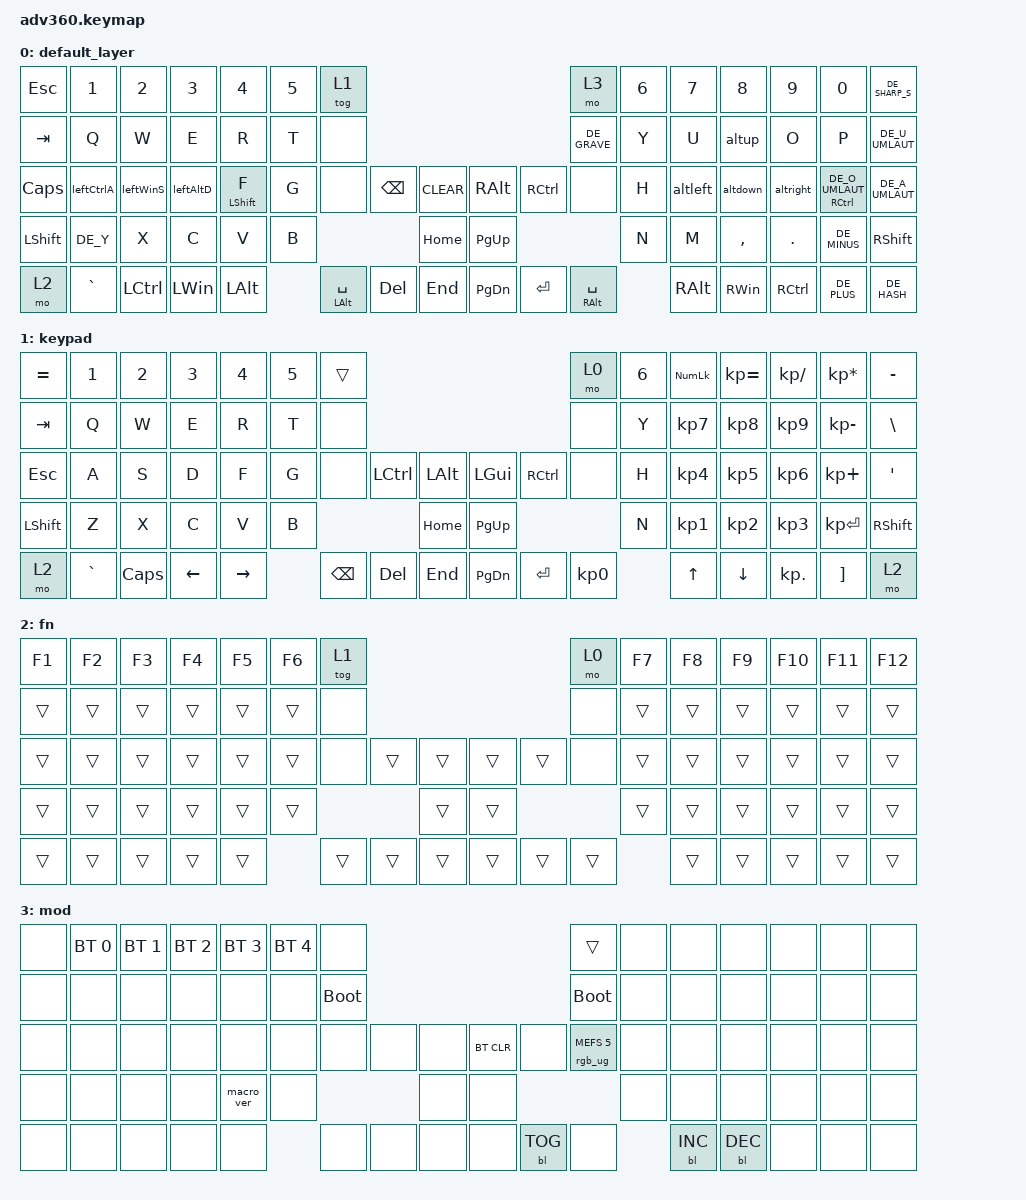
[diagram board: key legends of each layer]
#include "keys_de.h"
#include <behaviors.dtsi>
#include <dt-bindings/zmk/backlight.h>
#include <dt-bindings/zmk/bt.h>
#include <dt-bindings/zmk/keys.h>
#include <dt-bindings/zmk/rgb.h>

/ {
    behaviors {
        #include "macros.dtsi"
      #include "version.dtsi"
      #ifndef VERSION_MACRO

        macro_ver: macro_ver {
            compatible = "zmk,behavior-macro";
            label = "macro_version";
            #binding-cells = <0>;
            bindings = <&kp RET>;
        };

        #endif

        hm: homerow_mods {
            compatible = "zmk,behavior-hold-tap";
            label = "HOMEROW_MODS";
            #binding-cells = <2>;
            tapping-term-ms = <200>;
            flavor = "balanced";
            bindings = <&kp>, <&kp>;
        };

        altdown: altdown {
            compatible = "zmk,behavior-mod-morph";
            label = "ALTDOWN";
            bindings = <&hm RIGHT_ALT K>, <&kp DOWN_ARROW>;

            #binding-cells = <0>;
            mods = <(MOD_RALT)>;
        };

        altup: altup {
            compatible = "zmk,behavior-mod-morph";
            label = "ALTUP";
            bindings = <&kp I>, <&kp UP>;

            #binding-cells = <0>;
            mods = <(MOD_RALT)>;
        };

        altleft: altleft {
            compatible = "zmk,behavior-mod-morph";
            label = "ALTLEFT";
            bindings = <&hm RIGHT_SHIFT J>, <&kp LEFT_ARROW>;

            #binding-cells = <0>;
            mods = <(MOD_RALT)>;
        };

        altright: altright {
            compatible = "zmk,behavior-mod-morph";
            label = "ALTRIGHT";
            bindings = <&hm RIGHT_GUI L>, <&kp RIGHT_ARROW>;

            #binding-cells = <0>;
            mods = <(MOD_RALT)>;
        };

        leftCtrlA: leftCtrlA {
            compatible = "zmk,behavior-mod-morph";
            label = "LEFTCTRLA";
            bindings = <&hm LEFT_CONTROL A>, <&kp RIGHT_ARROW>;

            #binding-cells = <0>;
            mods = <(MOD_LCTL)>;
        };

        leftWinS: leftWinS {
            compatible = "zmk,behavior-mod-morph";
            label = "LEFTWINS";
            bindings = <&hm LEFT_GUI S>, <&kp RIGHT_ARROW>;

            #binding-cells = <0>;
            mods = <(MOD_LGUI)>;
        };

        leftAltD: leftAltD {
            compatible = "zmk,behavior-mod-morph";
            label = "LEFTALTD";
            bindings = <&hm LEFT_ALT D>, <&kp RIGHT_ARROW>;

            #binding-cells = <0>;
            mods = <(MOD_LALT)>;
        };
    };

    macros {
    };

    combos { compatible = "zmk,combos"; };

    keymap {
        compatible = "zmk,keymap";

        default_layer {
            bindings = <
&kp ESCAPE    &kp N1      &kp N2            &kp N3        &kp N4            &kp N5  &tog 1                                                                      &mo 3                &kp N6  &kp N7         &kp N8         &kp N9             &kp N0                         &kp DE_SHARP_S
&kp TAB       &kp Q       &kp W             &kp E         &kp R             &kp T   &none                                                                       &kp DE_GRAVE         &kp Y   &kp U          &altup         &kp O              &kp P                          &kp DE_U_UMLAUT
&kp CAPSLOCK  &leftCtrlA  &leftWinS         &leftAltD     &hm LEFT_SHIFT F  &kp G   &none               &kp BACKSPACE  &kp CLEAR      &kp RIGHT_ALT  &kp RCTRL  &none                &kp H   &altleft       &altdown       &altright          &hm RIGHT_CONTROL DE_O_UMLAUT  &kp DE_A_UMLAUT
&kp LSHFT     &kp DE_Y    &kp X             &kp C         &kp V             &kp B                                      &kp HOME       &kp PG_UP                                      &kp N   &kp M          &kp COMMA      &kp DOT            &kp DE_MINUS                   &kp RSHFT
&mo 2         &kp GRAVE   &kp LEFT_CONTROL  &kp LEFT_WIN  &kp LEFT_ALT              &mt LEFT_ALT SPACE  &kp DEL        &kp END        &kp PG_DN      &kp ENTER  &mt RIGHT_ALT SPACE          &kp RIGHT_ALT  &kp RIGHT_WIN  &kp RIGHT_CONTROL  &kp DE_PLUS                    &kp DE_HASH
            >;
        };

        keypad {
            bindings = <
&kp EQUAL  &kp N1     &kp N2    &kp N3    &kp N4     &kp N5  &trans                                                   &mo 0      &kp N6  &kp KP_NUM  &kp KP_EQUAL  &kp KP_DIVIDE  &kp KP_MULTIPLY  &kp MINUS
&kp TAB    &kp Q      &kp W     &kp E     &kp R      &kp T   &none                                                    &none      &kp Y   &kp KP_N7   &kp KP_N8     &kp KP_N9      &kp KP_MINUS     &kp BSLH
&kp ESC    &kp A      &kp S     &kp D     &kp F      &kp G   &none     &kp LCTRL  &kp LALT      &kp LGUI   &kp RCTRL  &none      &kp H   &kp KP_N4   &kp KP_N5     &kp KP_N6      &kp KP_PLUS      &kp SQT
&kp LSHFT  &kp Z      &kp X     &kp C     &kp V      &kp B                        &kp HOME      &kp PG_UP                        &kp N   &kp KP_N1   &kp KP_N2     &kp KP_N3      &kp KP_ENTER     &kp RSHFT
&mo 2      &kp GRAVE  &kp CAPS  &kp LEFT  &kp RIGHT          &kp BSPC  &kp DEL    &kp END       &kp PG_DN  &kp ENTER  &kp KP_N0          &kp UP      &kp DOWN      &kp KP_DOT     &kp RBKT         &mo 2
            >;
        };

        fn {
            bindings = <
&kp F1  &kp F2  &kp F3  &kp F4  &kp F5  &kp F6  &tog 1                                      &mo 0   &kp F7  &kp F8  &kp F9  &kp F10  &kp F11  &kp F12
&trans  &trans  &trans  &trans  &trans  &trans  &none                                       &none   &trans  &trans  &trans  &trans   &trans   &trans
&trans  &trans  &trans  &trans  &trans  &trans  &none   &trans  &trans      &trans  &trans  &none   &trans  &trans  &trans  &trans   &trans   &trans
&trans  &trans  &trans  &trans  &trans  &trans                  &trans      &trans                  &trans  &trans  &trans  &trans   &trans   &trans
&trans  &trans  &trans  &trans  &trans          &trans  &trans  &trans      &trans  &trans  &trans          &trans  &trans  &trans   &trans   &trans
            >;
        };

        mod {
            bindings = <
&none  &bt BT_SEL 0  &bt BT_SEL 1  &bt BT_SEL 2  &bt BT_SEL 3  &bt BT_SEL 4  &none                                                  &trans                  &none  &none       &none       &none  &none  &none
&none  &none         &none         &none         &none         &none         &bootloader                                            &bootloader             &none  &none       &none       &none  &none  &none
&none  &none         &none         &none         &none         &none         &none        &none  &none      &bt BT_CLR  &none       &rgb_ug RGB_MEFS_CMD 5  &none  &none       &none       &none  &none  &none
&none  &none         &none         &none         &macro_ver    &none                             &none      &none                                           &none  &none       &none       &none  &none  &none
&none  &none         &none         &none         &none                       &none        &none  &none      &none       &bl BL_TOG  &none                          &bl BL_INC  &bl BL_DEC  &none  &none  &none
            >;
        };
    };
};
